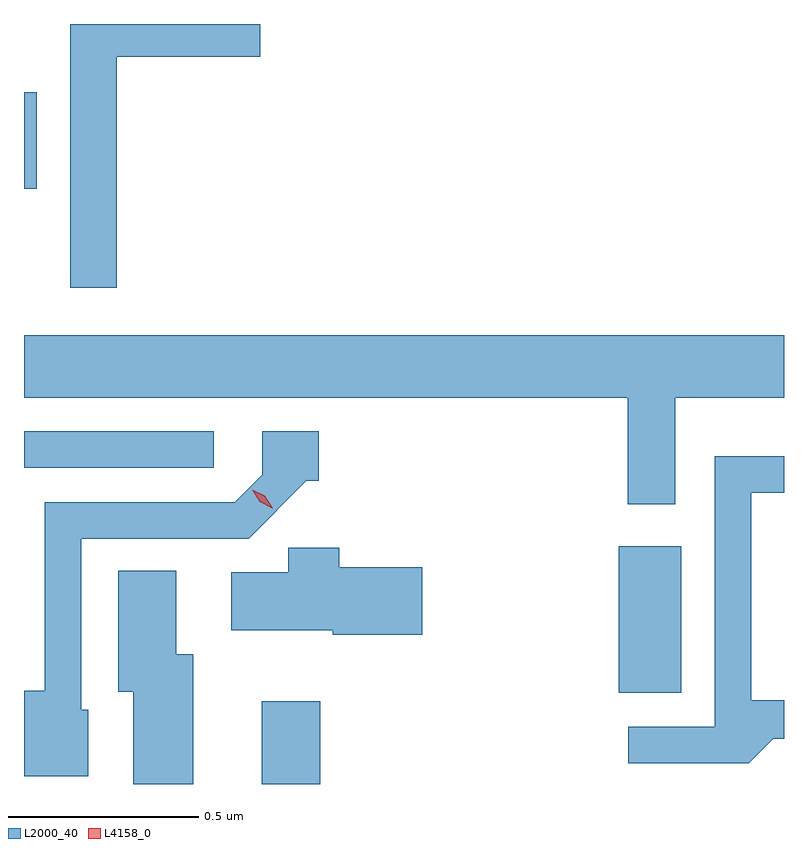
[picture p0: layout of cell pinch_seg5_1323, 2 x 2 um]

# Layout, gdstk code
import gdstk
lib = gdstk.Library(unit=1e-6, precision=1e-09)
def R(c, l, rs):  # rectangles x0, y0, x1, y1
    for r in rs: c.add(gdstk.rectangle(r[:2], r[2:], *l))
def P(c, l, *ps):  # polygons
    for p in ps: c.add(gdstk.Polygon(p, *l))
L2000_40 = (2000, 40)
L4158_0 = (4158, 0)

pinch_seg5_1323 = lib.new_cell('pinch_seg5_1323')
R(pinch_seg5_1323, L2000_40, [(394.175,845.087,394.328,845.305), (395.114,845.327,395.278,845.713), (393.549,845.919,394.048,846.015), (393.549,846.653,393.583,846.907)])
P(pinch_seg5_1323, L2000_40, [(393.793,847.001),(394.171,847.001),(394.171,847.087),(393.671,847.087),(393.671,846.393),(393.793,846.393)],
  [(395.263,846.104),(395.549,846.104),(395.549,846.268),(393.549,846.268),(393.549,846.104),(395.138,846.104),(395.138,845.823),(395.263,845.823)],
  [(393.718,845.283),(393.699,845.283),(393.699,845.733),(394.14,845.733),(394.292,845.885),(394.324,845.885),(394.324,846.015),(394.176,846.015),(394.176,845.901),(394.104,845.829),(393.603,845.829),(393.603,845.332),(393.549,845.332),(393.549,845.192),(393.55,845.192),(393.55,845.108),(393.718,845.108)],
  [(395.521,845.206),(395.549,845.206),(395.549,845.307),(395.463,845.307),(395.463,845.853),(395.549,845.853),(395.549,845.95),(395.367,845.95),(395.367,845.238),(395.139,845.238),(395.139,845.141),(395.456,845.141)],
  [(394.597,845.658),(394.379,845.658),(394.379,845.709),(394.245,845.709),(394.245,845.644),(394.095,845.644),(394.095,845.492),(394.362,845.492),(394.362,845.48),(394.597,845.48)],
  [(393.994,845.428),(393.949,845.428),(393.949,845.648),(393.797,845.648),(393.797,845.33),(393.836,845.33),(393.836,845.087),(393.994,845.087)])
P(pinch_seg5_1323, L4158_0, [(394.202,845.813),(394.17,845.83),(394.15,845.862),(394.15,845.862),(394.15,845.862),(394.183,845.845),(394.203,845.813),(394.203,845.813)])

lib.write_gds('pinch_seg5_1323.gds')
